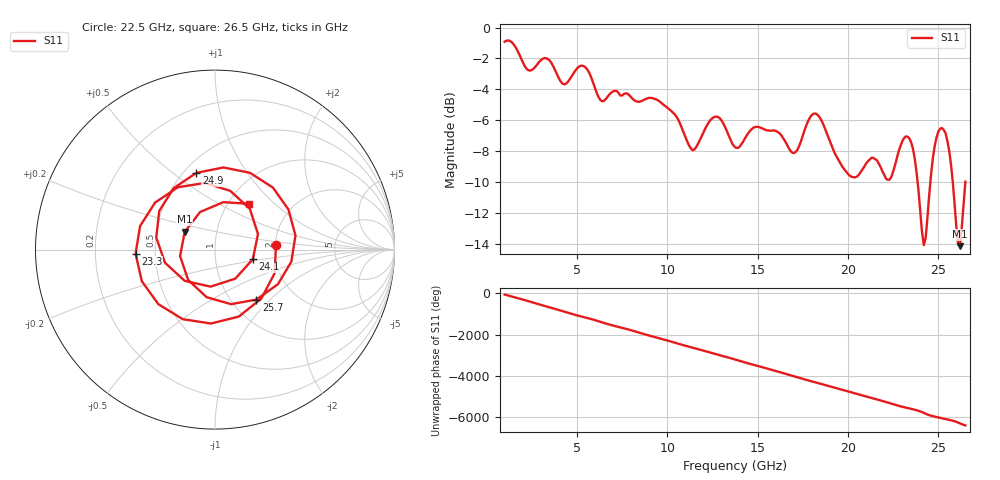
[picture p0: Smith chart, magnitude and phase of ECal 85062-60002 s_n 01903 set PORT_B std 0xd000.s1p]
!Created with skrf (http://scikit-rf.org).
# Hz S RI R 50.0
!freq ReS11 ImS11
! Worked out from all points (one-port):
!   256 points, 1 GHz to 26.5 GHz, reference 50 ohm
!   lowest |S11| = -14.2 dB at 26.2 GHz (marker M1), VSWR 1.49, Z = 34.9 + j7.22 ohm
!   |S11| at or under -10 dB: 23.85 GHz to 24.56 GHz (708.5 MHz wide, 2.93 % of centre); 25.8 GHz to 26.5 GHz (697.6 MHz wide, 2.67 % of centre)
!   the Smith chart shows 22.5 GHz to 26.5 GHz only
!   S11 on the Smith chart (normalised r, x): 22.5 GHz: 2.03, +0.12; 23.3 GHz: 0.39, -0.02; 24.1 GHz: 1.52, -0.17; 24.9 GHz: 0.58, +0.61; 25.7 GHz: 1.30, -0.83; 26.5 GHz: 1.24, +0.70
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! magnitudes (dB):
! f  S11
! 1 GHz  -0.9
! 2.3 GHz  -2.8
! 3.4 GHz  -2.0
! 4.2 GHz  -3.6
! 5.3 GHz  -2.5
! 6.3 GHz  -4.7
! 7.4 GHz  -4.4
! 10.6 GHz  -5.9
! 11.4 GHz  -7.9
! 12.7 GHz  -5.8
! 13.8 GHz  -7.8
! 15 GHz  -6.4
! 17 GHz  -8.1
! 18.2 GHz  -5.6
! 20.2 GHz  -9.7
! 21.3 GHz  -8.4
! 22.5 GHz  -9.3
! 23.3 GHz  -7.1
! 23.4 GHz  -7.2
! 23.7 GHz  -8.5
! 24.1 GHz  -13.2
! 24.3 GHz  -13.6
! 24.9 GHz  -7.1
! 25.4 GHz  -6.8
! 25.7 GHz  -8.8
! 26.1 GHz  -14.1
! 26.2 GHz  -14.2
! 26.5 GHz  -10.0
